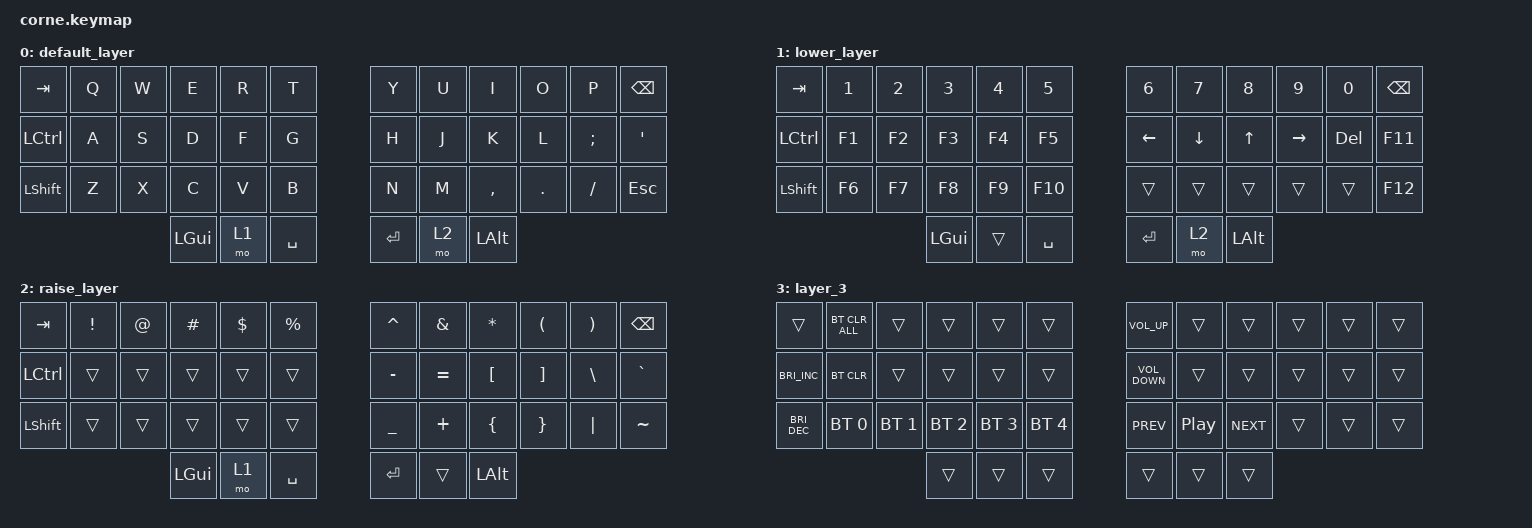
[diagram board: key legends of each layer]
/*
 * Copyright (c) 2020 The ZMK Contributors
 *
 * SPDX-License-Identifier: MIT
 */

#include <behaviors.dtsi>
#include <dt-bindings/zmk/bt.h>
#include <dt-bindings/zmk/keys.h>

/ {
    keymap {
        compatible = "zmk,keymap";

        default_layer {
            // -----------------------------------------------------------------------------------------
            // |  TAB |  Q  |  W  |  E  |  R  |  T  |   |  Y  |  U   |  I  |  O  |  P  | BSPC |
            // | CTRL |  A  |  S  |  D  |  F  |  G  |   |  H  |  J   |  K  |  L  |  ;  |  '   |
            // | SHFT |  Z  |  X  |  C  |  V  |  B  |   |  N  |  M   |  ,  |  .  |  /  | ESC  |
            //                    | GUI | LWR | SPC |   | ENT | RSE  | ALT |

            bindings = <
&kp TAB    &kp Q  &kp W  &kp E     &kp R  &kp T        &kp Y    &kp U  &kp I      &kp O    &kp P     &kp BSPC
&kp LCTRL  &kp A  &kp S  &kp D     &kp F  &kp G        &kp H    &kp J  &kp K      &kp L    &kp SEMI  &kp SQT
&kp LSHFT  &kp Z  &kp X  &kp C     &kp V  &kp B        &kp N    &kp M  &kp COMMA  &kp DOT  &kp FSLH  &kp ESC
                         &kp LGUI  &mo 1  &kp SPACE    &kp RET  &mo 2  &kp LALT
            >;
        };

        lower_layer {
            // -----------------------------------------------------------------------------------------
            // |  TAB |  1  |  2  |  3  |  4  |  5  |   |  6  |  7  |  8  |  9  |  0  | BSPC |
            // | BTCLR| BT1 | BT2 | BT3 | BT4 | BT5 |   | LFT | DWN |  UP | RGT |     |      |
            // | SHFT |     |     |     |     |     |   |     |     |     |     |     |      |
            //                    | GUI |     | SPC |   | ENT |     | ALT |

            bindings = <
&kp TAB           &kp N1  &kp N2  &kp N3    &kp N4  &kp N5       &kp N6    &kp N7    &kp N8    &kp N9     &kp N0   &kp BSPC
&kp LEFT_CONTROL  &kp F1  &kp F2  &kp F3    &kp F4  &kp F5       &kp LEFT  &kp DOWN  &kp UP    &kp RIGHT  &kp DEL  &kp F11
&kp LSHFT         &kp F6  &kp F7  &kp F8    &kp F9  &kp F10      &trans    &trans    &trans    &trans     &trans   &kp F12
                                  &kp LGUI  &trans  &kp SPACE    &kp RET   &mo 2     &kp LALT
            >;
        };

        raise_layer {
            // -----------------------------------------------------------------------------------------
            // |  TAB |  !  |  @  |  #  |  $  |  %  |   |  ^  |  &  |  *  |  (  |  )  | BSPC |
            // | CTRL |     |     |     |     |     |   |  -  |  =  |  [  |  ]  |  \  |  `   |
            // | SHFT |     |     |     |     |     |   |  _  |  +  |  {  |  }  | "|" |  ~   |
            //                    | GUI |     | SPC |   | ENT |     | ALT |

            bindings = <
&kp TAB    &kp EXCL  &kp AT  &kp HASH  &kp DLLR  &kp PRCNT    &kp CARET  &kp AMPS   &kp ASTRK  &kp LPAR  &kp RPAR  &kp BSPC
&kp LCTRL  &trans    &trans  &trans    &trans    &trans       &kp MINUS  &kp EQUAL  &kp LBKT   &kp RBKT  &kp BSLH  &kp GRAVE
&kp LSHFT  &trans    &trans  &trans    &trans    &trans       &kp UNDER  &kp PLUS   &kp LBRC   &kp RBRC  &kp PIPE  &kp TILDE
                             &kp LGUI  &mo 1     &kp SPACE    &kp RET    &trans     &kp LALT
            >;
        };

        layer_3 {
            bindings = <
&trans                &bt BT_CLR_ALL  &trans        &trans        &trans        &trans          &kp C_VOL_UP       &trans    &trans      &trans  &trans  &trans
&kp C_BRIGHTNESS_INC  &bt BT_CLR      &trans        &trans        &trans        &trans          &kp C_VOLUME_DOWN  &trans    &trans      &trans  &trans  &trans
&kp C_BRIGHTNESS_DEC  &bt BT_SEL 0    &bt BT_SEL 1  &bt BT_SEL 2  &bt BT_SEL 3  &bt BT_SEL 4    &kp C_PREV         &kp C_PP  &kp C_NEXT  &trans  &trans  &trans
                                                    &trans        &trans        &trans          &trans             &trans    &trans
            >;
        };
    };

    conditional_layers {
        compatible = "zmk,conditional-layers";

        ThirdLayer {
            if-layers = <1 2>;
            then-layer = <3>;
        };
    };
};
